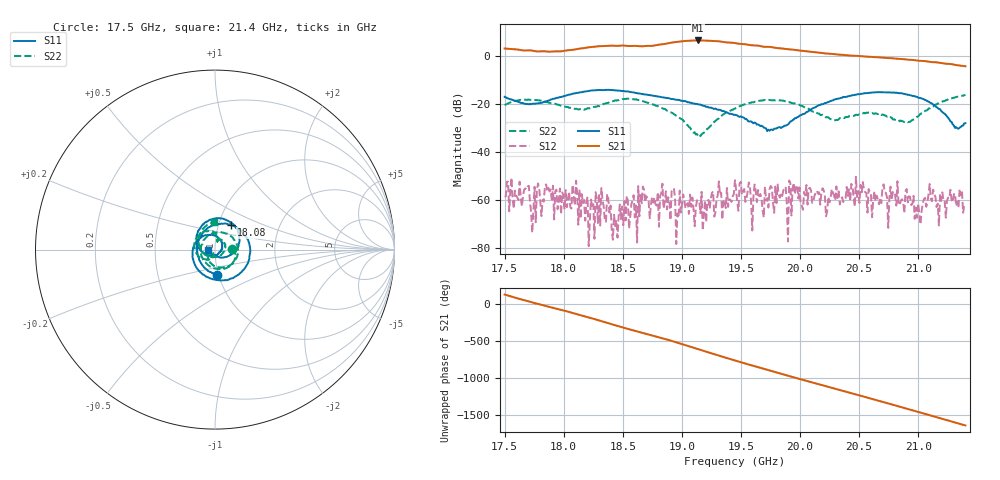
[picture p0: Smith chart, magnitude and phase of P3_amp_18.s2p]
!Created with skrf (http://scikit-rf.org).
# GHz S RI R 50.0
!freq ReS11 ImS11 ReS21 ImS21 ReS12 ImS12 ReS22 ImS22
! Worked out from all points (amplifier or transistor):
!   401 points, 17.5 GHz to 21.4 GHz, reference 50 ohm
!   highest |S21| = 6.5 dB at 19.14 GHz (marker M1)
!   |S21| within 3 dB of that: 18.19 GHz to 19.78 GHz (1.593 GHz wide, 8.39 % of centre)
!   unconditionally stable (mu >= 1): start of sweep to end of sweep
!   at 18.14 GHz: K = 809.87, MAG = 3.3 dB, |S12| = -67.7 dB
!   at 19.45 GHz: K = 101.23, MAG = 5.5 dB, |S12| = -51.7 dB
!   at 21.4 GHz: K = 1121.89, MAG = -4.1 dB, |S12| = -63.0 dB
!   S11 on the Smith chart (normalised r, x): 17.5 GHz: 0.98, -0.28; 18.08 GHz: 1.14, +0.33; 21.4 GHz: 0.92, -0.00
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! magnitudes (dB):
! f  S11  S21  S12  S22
! 17.5 GHz  -17.0  3.2  -58.6  -20.4
! 17.69 GHz  -19.9  2.4  -55.5  -18.2
! 17.74 GHz  -19.8  2.2  -64.6  -18.2
! 17.77 GHz  -19.7  2.0  -56.0  -18.3
! 17.86 GHz  -18.7  1.9  -56.0  -19.2
! 18.08 GHz  -15.7  2.6  -53.6  -21.7
! 18.15 GHz  -15.0  3.2  -57.5  -22.0
! 18.2 GHz  -14.6  3.6  -58.6  -21.6
! 18.38 GHz  -14.0  4.3  -59.3  -19.4
! 18.44 GHz  -14.3  4.3  -70.8  -18.4
! 18.67 GHz  -15.8  4.1  -54.3  -18.8
! 18.81 GHz  -16.8  4.8  -71.1  -21.1
! 18.92 GHz  -17.9  5.7  -55.1  -23.9
! 18.97 GHz  -18.2  6.0  -67.4  -25.5
! 19 GHz  -18.6  6.2  -62.0  -26.3
! 19.14 GHz  -20.1  6.5  -60.2  -33.2
! 19.45 GHz  -24.4  5.4  -51.7  -21.8
! 19.74 GHz  -31.0  3.8  -55.5  -18.3
! 20.1 GHz  -21.9  1.7  -61.1  -23.0
! 20.76 GHz  -15.1  -0.8  -59.3  -25.5
! 21.12 GHz  -19.7  -2.5  -60.4  -21.3
! 21.4 GHz  -27.9  -4.2  -63.0  -16.2
